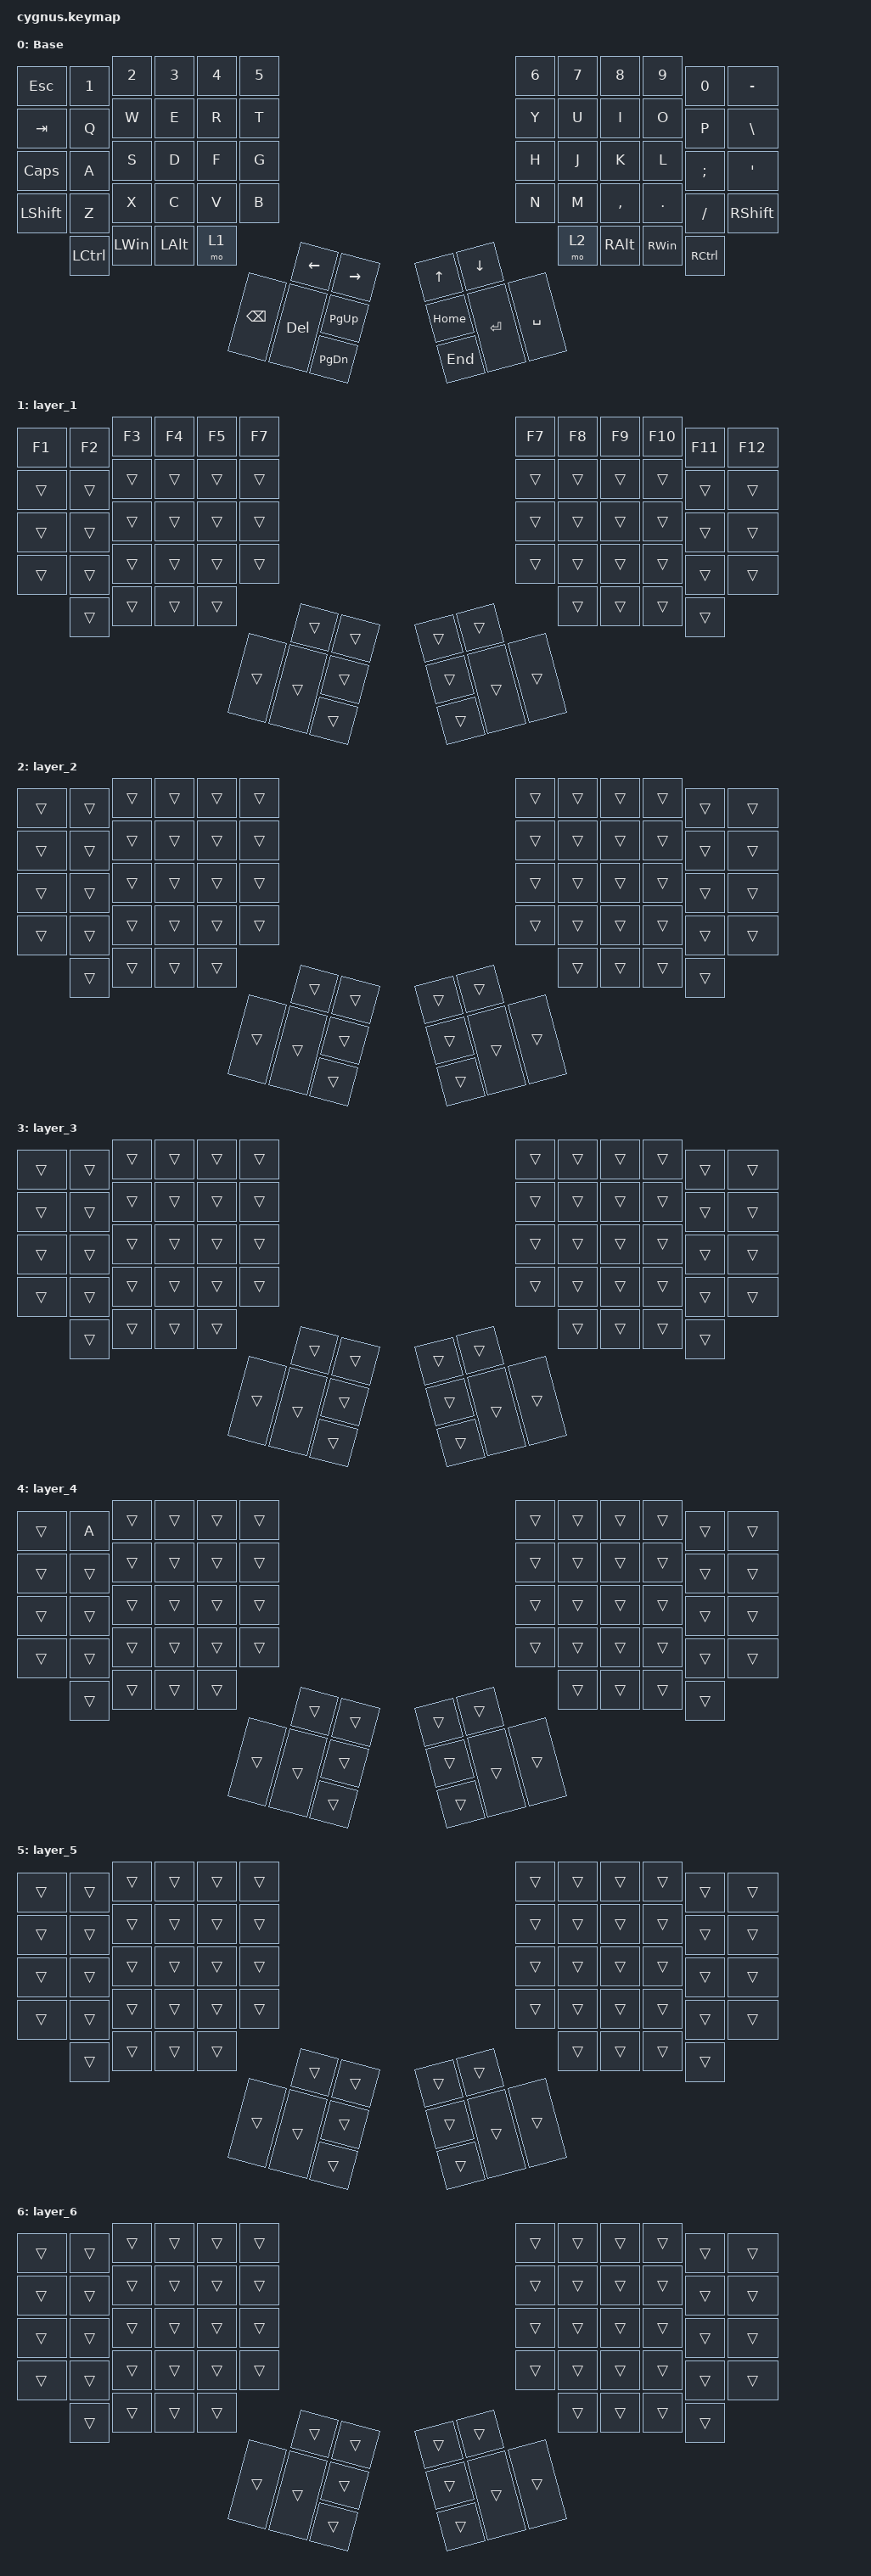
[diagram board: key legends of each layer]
/*
 * Copyright (c) 2020 The ZMK Contributors
 *
 * SPDX-License-Identifier: MIT
 */
#include <dt-bindings/zmk/mouse.h>
#include <behaviors.dtsi>
#include <dt-bindings/zmk/bt.h>
#include <dt-bindings/zmk/keys.h>

/ {
    behaviors {
        hm: homerow_mods {
            compatible = "zmk,behavior-hold-tap";
            label = "HOMEROW_MODS";
            #binding-cells = <2>;
            tapping-term-ms = <200>;
            quick-tap-ms = <175>;
            flavor = "tap-preferred";
            bindings = <&kp>, <&kp>;

            global-quick-tap;
        };

        ltq: ltq {
            compatible = "zmk,behavior-hold-tap";
            label = "LTQ";
            #binding-cells = <2>;
            tapping-term-ms = <200>;
            quick-tap-ms = <175>;
            flavor = "hold-preferred";
            bindings = <&mo>, <&kp>;

            global-quick-tap;
        };

        as: as {
            compatible = "zmk,behavior-hold-tap";
            label = "AUTO_SHIFT";
            bindings = <&kp>, <&kp>;

            #binding-cells = <2>;
            tapping-term-ms = <135>;
            quick-tap-ms = <0>;
            flavor = "tap-preferred";
        };
    };

    keymap {
        compatible = "zmk,keymap";

        default_layer {
            display-name = "Base";
            bindings = <
&kp ESC    &kp N1     &kp N2    &kp N3        &kp N4  &kp N5                                                                                             &kp N6  &kp N7  &kp N8         &kp N9         &kp N0     &kp MINUS
&kp TAB    &kp Q      &kp W     &kp E         &kp R   &kp T                                                                                              &kp Y   &kp U   &kp I          &kp O          &kp P      &kp BSLH
&kp CAPS   &kp A      &kp S     &kp D         &kp F   &kp G                  &kp LEFT_ARROW  &kp RIGHT          &kp UP_ARROW  &kp DOWN_ARROW             &kp H   &kp J   &kp K          &kp L          &kp SEMI   &kp SQT
&kp LSHFT  &kp Z      &kp X     &kp C         &kp V   &kp B                                  &kp PG_UP          &kp HOME                                 &kp N   &kp M   &kp COMMA      &kp DOT        &kp FSLH   &kp RSHFT
           &kp LCTRL  &kp LWIN  &kp LEFT_ALT  &mo 1           &kp BACKSPACE  &kp DELETE      &kp PAGE_DOWN      &kp END       &kp ENTER       &kp SPACE          &mo 2   &kp RIGHT_ALT  &kp RIGHT_WIN  &kp RCTRL
            >;
        };

        layer_1 {
            bindings = <
&kp F1   &kp F2  &kp F3   &kp F4   &kp F5   &kp F7                                                       &kp F7   &kp F8   &kp F9   &kp F10   &kp F11   &kp F12 
&trans  &trans  &trans  &trans  &trans  &trans                                                      &trans  &trans  &trans  &trans  &trans  &trans
&trans  &trans  &trans  &trans  &trans  &trans          &trans  &trans      &trans  &trans          &trans  &trans  &trans  &trans  &trans  &trans
&trans  &trans  &trans  &trans  &trans  &trans                  &trans      &trans                  &trans  &trans  &trans  &trans  &trans  &trans
        &trans  &trans  &trans  &trans          &trans  &trans  &trans      &trans  &trans  &trans          &trans  &trans  &trans  &trans
            >;
        };

        layer_2 {
            bindings = <
&trans  &trans          &trans        &trans        &trans           &trans                                                            &trans           &trans  &trans  &trans  &trans  &trans
&trans  &trans          &trans        &trans        &trans           &trans                                                            &trans           &trans  &trans  &trans  &trans  &trans
&trans  &trans          &trans        &trans        &trans           &trans                &trans  &trans      &trans  &trans          &trans           &trans  &trans  &trans  &trans  &trans
&trans  &trans          &trans        &trans        &trans           &trans                        &trans      &trans                  &trans           &trans  &trans  &trans  &trans  &trans
        &trans          &trans        &trans        &trans                         &trans  &trans  &trans      &trans  &trans  &trans                   &trans  &trans  &trans  &trans
            >;
        };

        layer_3 {
            bindings = <
&trans  &trans  &trans  &trans  &trans  &trans                                                      &trans  &trans  &trans  &trans  &trans  &trans
&trans  &trans  &trans  &trans  &trans  &trans                                                      &trans  &trans  &trans  &trans  &trans  &trans
&trans  &trans  &trans  &trans  &trans  &trans          &trans  &trans      &trans  &trans          &trans  &trans  &trans  &trans  &trans  &trans
&trans  &trans  &trans  &trans  &trans  &trans                  &trans      &trans                  &trans  &trans  &trans  &trans  &trans  &trans
        &trans  &trans  &trans  &trans          &trans  &trans  &trans      &trans  &trans  &trans          &trans  &trans  &trans  &trans
            >;
        };

        layer_4 {
            bindings = <
&trans  &kp A   &trans  &trans  &trans  &trans                                                      &trans  &trans  &trans  &trans  &trans  &trans
&trans  &trans  &trans  &trans  &trans  &trans                                                      &trans  &trans  &trans  &trans  &trans  &trans
&trans  &trans  &trans  &trans  &trans  &trans          &trans  &trans      &trans  &trans          &trans  &trans  &trans  &trans  &trans  &trans
&trans  &trans  &trans  &trans  &trans  &trans                  &trans      &trans                  &trans  &trans  &trans  &trans  &trans  &trans
        &trans  &trans  &trans  &trans          &trans  &trans  &trans      &trans  &trans  &trans          &trans  &trans  &trans  &trans
            >;
        };

        layer_5 {
            bindings = <
&trans  &trans  &trans  &trans  &trans  &trans                                                      &trans  &trans  &trans  &trans  &trans  &trans
&trans  &trans  &trans  &trans  &trans  &trans                                                      &trans  &trans  &trans  &trans  &trans  &trans
&trans  &trans  &trans  &trans  &trans  &trans          &trans  &trans      &trans  &trans          &trans  &trans  &trans  &trans  &trans  &trans
&trans  &trans  &trans  &trans  &trans  &trans                  &trans      &trans                  &trans  &trans  &trans  &trans  &trans  &trans
        &trans  &trans  &trans  &trans          &trans  &trans  &trans      &trans  &trans  &trans          &trans  &trans  &trans  &trans
            >;
        };

        layer_6 {
            bindings = <
&trans  &trans  &trans  &trans  &trans  &trans                                                      &trans  &trans  &trans  &trans  &trans  &trans
&trans  &trans  &trans  &trans  &trans  &trans                                                      &trans  &trans  &trans  &trans  &trans  &trans
&trans  &trans  &trans  &trans  &trans  &trans          &trans  &trans      &trans  &trans          &trans  &trans  &trans  &trans  &trans  &trans
&trans  &trans  &trans  &trans  &trans  &trans                  &trans      &trans                  &trans  &trans  &trans  &trans  &trans  &trans
        &trans  &trans  &trans  &trans          &trans  &trans  &trans      &trans  &trans  &trans          &trans  &trans  &trans  &trans
            >;
        };
    };
};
